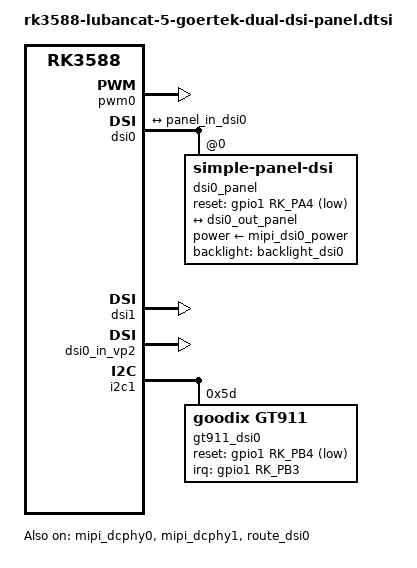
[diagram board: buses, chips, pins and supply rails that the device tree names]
// SPDX-License-Identifier: (GPL-2.0+ OR MIT)
/*
 * Copyright (c) 2021 Rockchip Electronics Co., Ltd.
 *
 */

&pwm0 {
	pinctrl-0 = <&pwm0m0_pins>;
	status = "okay";
};

&dsi0 {
	status = "okay";
	#address-cells = <1>;
	#size-cells = <0>;

	rockchip,dual-channel = <&dsi1>;
	rockchip,lane-rate = <1250000>;

	dsi0_panel: panel@0 {
		status = "okay";
		compatible = "simple-panel-dsi";
		reg = <0>;

		backlight = <&backlight_dsi0>;
		power-supply = <&mipi_dsi0_power>;
		reset-gpios = <&gpio1 RK_PA4 GPIO_ACTIVE_LOW>;

		enable-delay-ms = <35>;
		prepare-delay-ms = <6>;
		reset-delay-ms = <10>;
		init-delay-ms = <3000>;
		unprepare-delay-ms = <0>;
		disable-delay-ms = <20>;

		size,width = <74>;
		size,height = <133>;

		dsi,flags = <0xe03>;
		dsi,format = <0>;
		dsi,lanes = <8>;

		panel-init-sequence = [
			39 00 02 B0 00
			39 00 02 FF 00
			39 00 1C B1 00 18 18 00 18 18 00 18 18 00 18 18 00 18 18 00 18 18 00 18 18 00 18 18 00 18 18
			39 00 02 FF 01
			39 00 25 CC 8D E0 01 32 32 32 32 32 32 32 32 32 00 49 81 2C 00 40 00 08 0C 00 40 40 00 00 00 00
			00 00 00 02 00 FF FF FF
			39 00 02 FF 01
			39 00 02 EC 20
			39 00 02 FF 00
			39 00 02 03 01
			39 00 02 36 02
			39 00 03 51 FF FF
			39 00 02 65 90
			39 00 02 FF 01
			0A 00 80 12 00 00 AB 30 80 0B 40 0A 68 05 A0 02 9A 02 9A 02 00 02 A1 00 20 85 EE 00 09 00 0F 00
			16 00 0F 18 00 10 F0 07 10 20 00 06 0F 0F 33 0E 1C 2A 38 46 54 62 69 70 77 79 7B 7D 7E 02 02 22
			00 2A 40 2A BE 3A FC 3A FA 3A F8 3B 38 3B 78 3B B6 4B B6 4B F4 4B F4 6C 34 84 74 00 00 00 00 00
			00 00 00 00 00 00 00 00 00 00 00 00 00 00 00 00 00 00 00 00 00 00 00 00 00 00 00 00 00 00 00 00
			00 00 00
			39 00 02 FF 00
			39 00 02 B0 00
			39 00 01 29
			39 00 01 11
		];

		panel-exit-sequence = [
			05 78 01 28
			05 00 01 10
		];

		compressed-data;
		slice-width = <666>;
		slice-height = <1440>;
		version-major = <1>;
		version-minor = <1>;

		disp0_timings0: display-timings {
			native-mode = <&dsi0_timing0>;
			dsi0_timing0: timing0 {
				clock-frequency = <856000000>;
				hactive = <2664>;
				vactive = <2880>;
				hback-porch = <200>;
				hfront-porch = <400>;
				hsync-len = <4>;
				vback-porch = <10>;
				vfront-porch = <30>;
				vsync-len = <1>;
				hsync-active = <0>;
				vsync-active = <0>;
				de-active = <0>;
				pixelclk-active = <0>;
			};
		};

		ports {
			#address-cells = <1>;
			#size-cells = <0>;
			port@0 {
				reg = <0>;
				panel_in_dsi0: endpoint {
					remote-endpoint = <&dsi0_out_panel>;
				};
			};
		};
	};

	ports {
		#address-cells = <1>;
		#size-cells = <0>;

		port@1 {
			reg = <1>;
			dsi0_out_panel: endpoint {
				remote-endpoint = <&panel_in_dsi0>;
			};
		};
	};
};

&dsi1 {
	status = "okay";
};

&dsi0_in_vp2 {
	status = "okay";
};

&mipi_dcphy0 {
	status = "okay";
};

&mipi_dcphy1 {
	status = "okay";
};

&route_dsi0 {
	status = "okay";
	connect = <&vp2_out_dsi0>;
};

&i2c1 {
	status = "okay";
	#address-cells = <1>;
	#size-cells = <0>;
	pinctrl-names = "default";
	pinctrl-0 = <&i2c1m2_xfer>;

	gt911_dsi0: gt911@5d {
		status = "okay";
		compatible = "goodix,gt911";
		reg = <0x5d>;
		interrupt-parent = <&gpio1>;
		interrupts = <RK_PB3 IRQ_TYPE_LEVEL_LOW>;
		reset-gpios = <&gpio1 RK_PB4 GPIO_ACTIVE_LOW>;
		irq-gpios = <&gpio1 RK_PB3 GPIO_ACTIVE_HIGH>;
		touchscreen-inverted-x = <1>;
		touchscreen-inverted-y = <1>;
	};
};
